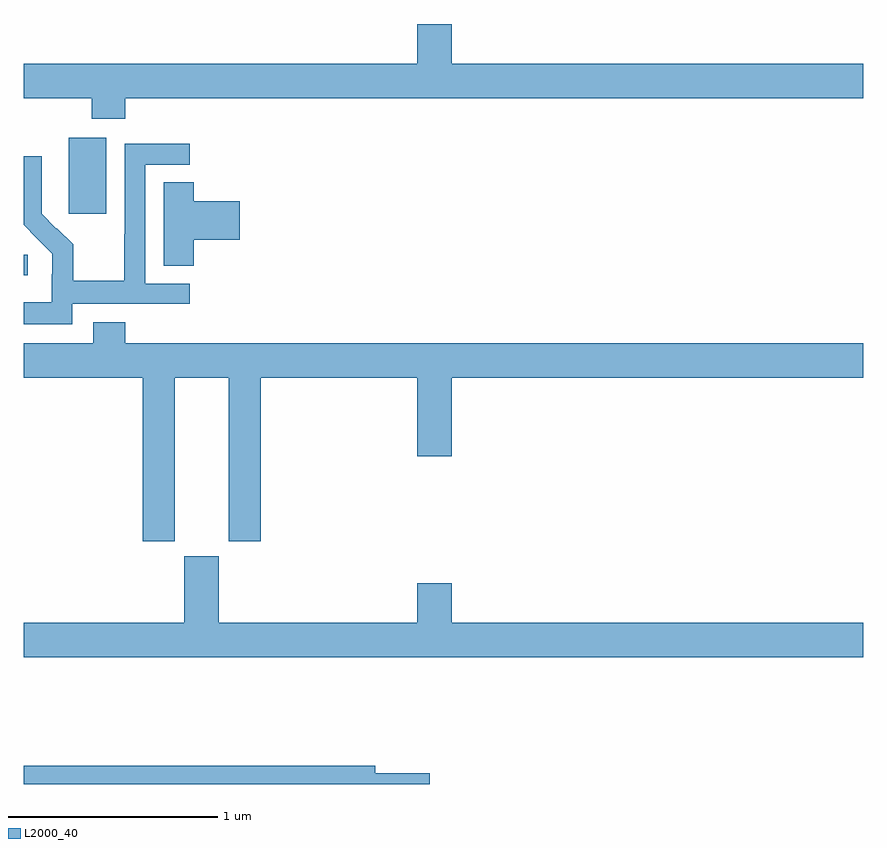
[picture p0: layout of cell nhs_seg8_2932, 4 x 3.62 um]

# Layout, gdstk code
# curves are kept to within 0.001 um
import gdstk
lib = gdstk.Library(unit=1e-6, precision=1e-09)
def R(c, l, rs):  # rectangles x0, y0, x1, y1
    for r in rs: c.add(gdstk.rectangle(r[:2], r[2:], *l))
def P(c, l, *ps):  # polygons
    for p in ps: c.add(gdstk.Polygon(p, *l))
L2000_40 = (2000, 40)

nhs_seg8_2932 = lib.new_cell('nhs_seg8_2932')
R(nhs_seg8_2932, L2000_40, [(295,1114.325,295.018,1114.422), (295.214,1114.617,295.393,1114.978)])
P(nhs_seg8_2932, L2000_40, [(295.484,1115.168),(299,1115.168),(299,1115.332),(297.04,1115.332),(297.04,1115.521),(296.876,1115.521),(296.876,1115.332),(295,1115.332),(295,1115.168),(295.324,1115.168),(295.324,1115.069),(295.484,1115.069)],
  [(295.23,1114.188),(295.792,1114.188),(295.792,1114.284),(295.578,1114.284),(295.578,1114.851),(295.792,1114.851),(295.792,1114.95),(295.482,1114.95),(295.482,1114.52),(295.48,1114.52),(295.48,1114.297),(295.235,1114.297),(295.235,1114.471),(295.158,1114.548),(295.155,1114.545),(295.085,1114.616),(295.086,1114.892),(295,1114.892),(295,1114.564),(295.136,1114.426),(295.136,1114.329),(295.134,1114.329),(295.134,1114.195),(295,1114.195),(295,1114.091),(295.23,1114.091)],
  [(295.811,1114.493),(296.029,1114.493),(296.029,1114.676),(295.811,1114.676),(295.811,1114.766),(295.667,1114.766),(295.667,1114.369),(295.811,1114.369)],
  [(295.72,1113.836),(295.976,1113.836),(295.976,1113.057),(296.129,1113.057),(296.129,1113.836),(296.876,1113.836),(296.876,1113.462),(297.04,1113.462),(297.04,1113.836),(299,1113.836),(299,1114),(295.484,1114),(295.484,1114.099),(295.331,1114.099),(295.331,1114),(295,1114),(295,1113.836),(295.568,1113.836),(295.568,1113.057),(295.72,1113.057)],
  [(299,1112.668),(297.04,1112.668),(297.04,1112.857),(296.876,1112.857),(296.876,1112.668),(295.93,1112.668),(295.93,1112.985),(295.766,1112.985),(295.766,1112.668),(295,1112.668),(295,1112.504),(299,1112.504)],
  [(296.935,1111.952),(296.674,1111.952),(296.674,1111.988),(295,1111.988),(295,1111.9),(296.935,1111.9)])

lib.write_gds('nhs_seg8_2932.gds')
